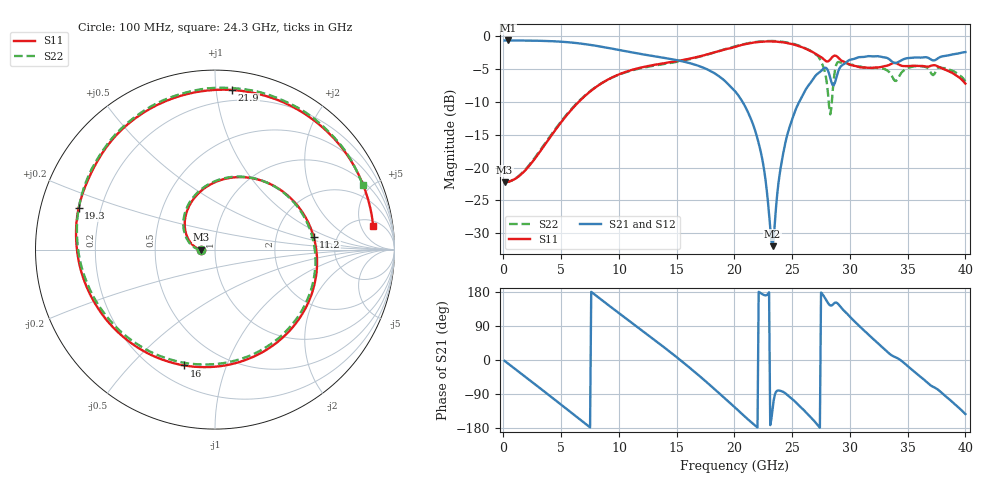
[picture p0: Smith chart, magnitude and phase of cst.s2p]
! BV_vna_rf_hblb1: LibreVNA RF_HBLB_PORT1, via F.Cu → In2.Cu with a 0.87 mm stub to B.Cu (CPWG feeds)
! stackup: VNA from the board file and its kisi.json
! ports: 1 in, 2 out
! CST Studio Suite 2025.5 Release from 2025-05-30, time domain (FIT, hexahedral, PBA), 805200 mesh cells, 331 s
! mesh: {'lpw': 20, 'lpb': 20, 'minstep': 0.0, 'ratio': 20}; ports: port 1 (face); port 2 (face)
! interpolated from CST's 1001 samples to the case grid
# Hz S RI R 50
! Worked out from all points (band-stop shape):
!   400 points, 100 MHz to 40 GHz, reference 50 ohm
!   highest |S21| = -0.70 dB at 400 MHz (marker M1); lowest = -31.9 dB at 23.3 GHz (marker M2)
!   |S21| within 3 dB of the highest: start of sweep to 15.03 GHz; 29.93 GHz to 33.51 GHz (3.582 GHz wide, 11.3 % of centre)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
!   lowest |S11| = -22.2 dB at 100 MHz (marker M3), VSWR 1.17, Z = 42.8 + j0.00903 ohm
!   |S11| at or under -10 dB: start of sweep to 6.536 GHz
!   |S22| runs from -22.3 to -0.8 dB; largest |S21 - S12| = 0.007
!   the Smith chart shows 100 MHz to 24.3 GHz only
!   S11 on the Smith chart (normalised r, x): 100 MHz: 0.86, +0.00; 11.2 GHz: 3.32, +0.70; 16 GHz: 0.31, -0.72; 19.3 GHz: 0.12, +0.15; 21.9 GHz: 0.12, +1.11; 24.3 GHz: 7, +8
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1e8  -0.0772 0.000105  0.922 -0.0376  0.9221 -0.0377  -0.0771 -0.000199
4e8  -0.0779 0.000369  0.9106 -0.1501  0.9105 -0.1501  -0.0781 -0.000205
3.7e9  -0.145 0.0518  0.0474 -0.9134  0.0474 -0.9133  -0.1496 0.0476
6.8e9  -0.0822 0.3229  -0.825 -0.2823  -0.825 -0.2822  -0.0917 0.3236
8.6e9  0.1854 0.4012  -0.7539 0.3325  -0.7539 0.3323  0.1812 0.4035
1.12e10  0.5492 0.0725  -0.079 0.7428  -0.0792 0.7428  0.5461 0.0547
1.34e10  0.4523 -0.4084  0.4858 0.4935  0.4857 0.4934  0.4112 -0.4381
1.6e10  -0.1718 -0.6453  0.597 -0.1856  0.597 -0.1853  -0.2504 -0.6115
1.93e10  -0.7601 0.2307  -0.1143 -0.4288  -0.1138 -0.4289  -0.7513 0.2694
2.01e10  -0.6288 0.5363  -0.2244 -0.3017  -0.2242 -0.3019  -0.6267 0.5493
2.19e10  0.0961 0.8894  -0.1773 -0.0134  -0.1771 -0.0141  0.00316 0.9013
2.33e10  0.6942 0.5836  -0.0166 -0.0191  -0.0161 -0.02  0.572 0.7138
2.43e10  0.8811 0.1296  0.0109 -0.1381  0.0104 -0.1381  0.8243 0.3574
2.67e10  0.2531 -0.717  -0.4083 -0.1984  -0.4123 -0.1971  0.5015 -0.5696
2.83e10  -0.3121 -0.5832  -0.3871 0.282  -0.3852 0.2884  0.0502 -0.2485
2.87e10  -0.5062 -0.4956  -0.3855 0.2123  -0.3901 0.2072  0.2475 -0.4848
2.96e10  -0.6243 -0.0873  -0.3732 0.4962  -0.3776 0.5009  -0.2035 -0.5937
3.14e10  -0.3503 0.4548  0.2025 0.6671  0.2044 0.6655  -0.5428 -0.1879
3.34e10  0.211 0.563  0.6356 0.1968  0.634 0.1987  -0.4339 0.3065
3.63e10  0.5852 -0.0779  0.4507 -0.5159  0.4494 -0.5177  0.000435 0.586
3.84e10  0.2518 -0.4853  -0.104 -0.6994  -0.1037 -0.7027  0.3783 0.4211
4e10  -0.1058 -0.4206  -0.5988 -0.4571  -0.5982 -0.4574  0.4467 0.066
